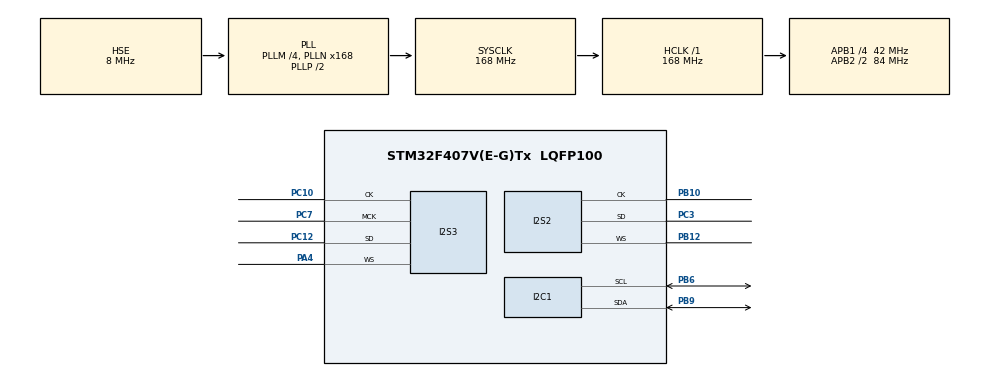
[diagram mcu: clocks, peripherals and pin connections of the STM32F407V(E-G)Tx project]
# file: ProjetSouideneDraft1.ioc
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Dma.Request0=SPI3_TX
Dma.Request1=SPI2_RX
Dma.SPI2_RX.1.Direction=DMA_PERIPH_TO_MEMORY
Dma.SPI2_RX.1.FIFOMode=DMA_FIFOMODE_ENABLE
Dma.SPI2_RX.1.FIFOThreshold=DMA_FIFO_THRESHOLD_FULL
Dma.SPI2_RX.1.Instance=DMA1_Stream3
Dma.SPI2_RX.1.MemBurst=DMA_MBURST_SINGLE
Dma.SPI2_RX.1.MemDataAlignment=DMA_MDATAALIGN_HALFWORD
Dma.SPI2_RX.1.MemInc=DMA_MINC_ENABLE
Dma.SPI2_RX.1.Mode=DMA_CIRCULAR
Dma.SPI2_RX.1.PeriphBurst=DMA_PBURST_SINGLE
Dma.SPI2_RX.1.PeriphDataAlignment=DMA_PDATAALIGN_HALFWORD
Dma.SPI2_RX.1.PeriphInc=DMA_PINC_DISABLE
Dma.SPI2_RX.1.Priority=DMA_PRIORITY_LOW
Dma.SPI3_TX.0.Direction=DMA_MEMORY_TO_PERIPH
Dma.SPI3_TX.0.FIFOMode=DMA_FIFOMODE_ENABLE
Dma.SPI3_TX.0.FIFOThreshold=DMA_FIFO_THRESHOLD_FULL
Dma.SPI3_TX.0.Instance=DMA1_Stream5
Dma.SPI3_TX.0.MemBurst=DMA_MBURST_SINGLE
Dma.SPI3_TX.0.MemDataAlignment=DMA_MDATAALIGN_HALFWORD
Dma.SPI3_TX.0.MemInc=DMA_MINC_ENABLE
Dma.SPI3_TX.0.Mode=DMA_CIRCULAR
Dma.SPI3_TX.0.PeriphBurst=DMA_PBURST_SINGLE
Dma.SPI3_TX.0.PeriphDataAlignment=DMA_PDATAALIGN_HALFWORD
Dma.SPI3_TX.0.PeriphInc=DMA_PINC_DISABLE
Dma.SPI3_TX.0.Priority=DMA_PRIORITY_LOW
I2S2.AudioFreq=I2S_AUDIOFREQ_48K
I2S2.ErrorAudioFreq=-1.35 %
I2S2.FullDuplexMode=I2S_FULLDUPLEXMODE_DISABLE
I2S2.Instance=SPI$Index
I2S2.Mode=I2S_MODE_MASTER_RX
I2S2.RealAudioFreq=47.348 KHz
I2S2.VirtualMode=I2S_MODE_MASTER
I2S3.AudioFreq=I2S_AUDIOFREQ_48K
I2S3.ErrorAudioFreq=1.72 %
I2S3.FullDuplexMode=I2S_FULLDUPLEXMODE_DISABLE
I2S3.Instance=SPI$Index
I2S3.Mode=I2S_MODE_MASTER_TX
I2S3.RealAudioFreq=48.828 KHz
I2S3.VirtualMode=I2S_MODE_MASTER
Mcu.Family=STM32F4
Mcu.Name=STM32F407V(E-G)Tx
Mcu.Package=LQFP100
NVIC.DMA1_Stream3_IRQn=true\:0\:0\:false\:false\:true\:false\:true\:true
NVIC.DMA1_Stream5_IRQn=true\:0\:0\:false\:false\:true\:false\:true\:true
NVIC.PriorityGroup=NVIC_PRIORITYGROUP_0
PA4.Mode=Half_Duplex_Master
PA4.Signal=I2S3_WS
PB10.Mode=Half_Duplex_Master
PB10.Signal=I2S2_CK
PB12.Mode=Half_Duplex_Master
PB12.Signal=I2S2_WS
PB6.Mode=I2C
PB6.Signal=I2C1_SCL
PB9.Mode=I2C
PB9.Signal=I2C1_SDA
PC10.Mode=Half_Duplex_Master
PC10.Signal=I2S3_CK
PC12.Mode=Half_Duplex_Master
PC12.Signal=I2S3_SD
PC3.Mode=Half_Duplex_Master
PC3.Signal=I2S2_SD
PC7.Mode=Master_Clock_Activated
PC7.Signal=I2S3_MCK
PDM2PCM.CHANNEL1_decimation_factor=PDM_FILTER_DEC_FACTOR_16
PDM2PCM.CHANNEL1_in_ptr_channels=1
PDM2PCM.CHANNEL1_out_ptr_channels=1
PH0-OSC_IN.Mode=HSE-External-Oscillator
PH0-OSC_IN.Signal=RCC_OSC_IN
PH1-OSC_OUT.Mode=HSE-External-Oscillator
PH1-OSC_OUT.Signal=RCC_OSC_OUT
ProjectManager.HeapSize=0x200
ProjectManager.StackSize=0x400
ProjectManager.TargetToolchain=MDK-ARM V5.32
RCC.48MHZClocksFreq_Value=48000000
RCC.AHBFreq_Value=168000000
RCC.APB1CLKDivider=RCC_HCLK_DIV4
RCC.APB1Freq_Value=42000000
RCC.APB1TimFreq_Value=84000000
RCC.APB2CLKDivider=RCC_HCLK_DIV2
RCC.APB2Freq_Value=84000000
RCC.APB2TimFreq_Value=168000000
RCC.CortexFreq_Value=168000000
RCC.HCLKFreq_Value=168000000
RCC.HSE_VALUE=8000000
RCC.HSI_VALUE=16000000
RCC.LSE_VALUE=32768
RCC.PLLI2SN=50
RCC.PLLM=4
RCC.PLLN=168
RCC.PLLQ=7
RCC.PLLSourceVirtual=RCC_PLLSOURCE_HSE
RCC.SYSCLKFreq_VALUE=168000000
RCC.SYSCLKSource=RCC_SYSCLKSOURCE_PLLCLK
RCC.VCOOutputFreq_Value=336000000
VP_CRC_VS_CRC.Mode=CRC_Activate
VP_PDM2PCM_VS_PDM2PCM.Mode=PDM2PCM_Channel
board=STM32F407G-DISC1

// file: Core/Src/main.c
/* USER CODE BEGIN Header */
/**
  ******************************************************************************
  * @file           : main.c
  * @brief          : Main program body
  ******************************************************************************
  * @attention
  *
  * Copyright (c) 2024 STMicroelectronics.
  * All rights reserved.
  *
  * This software is licensed under terms that can be found in the LICENSE file
  * in the root directory of this software component.
  * If no LICENSE file comes with this software, it is provided AS-IS.
  *
  ******************************************************************************
  */
/* USER CODE END Header */
#include "main.h"
#include "MY_CS43L22.h"
#include "pdm2pcm.h"
#include "string.h"

/* USER CODE BEGIN PD */
#define BUFFER_SIZE 64
/* USER CODE END PD */

CRC_HandleTypeDef hcrc;

I2C_HandleTypeDef hi2c1;

I2S_HandleTypeDef hi2s2;
I2S_HandleTypeDef hi2s3;
DMA_HandleTypeDef hdma_spi2_rx;
DMA_HandleTypeDef hdma_spi3_tx;

/* USER CODE BEGIN PV */
uint16_t pdm_buffer[BUFFER_SIZE * 2];
uint16_t pcm_buffer[BUFFER_SIZE];
uint16_t audio_data[BUFFER_SIZE];
/* USER CODE END PV */

void SystemClock_Config(void);
void PeriphCommonClock_Config(void);
static void MX_GPIO_Init(void);
static void MX_DMA_Init(void);
static void MX_I2S3_Init(void);
static void MX_I2C1_Init(void);
static void MX_I2S2_Init(void);
static void MX_CRC_Init(void);

/* USER CODE BEGIN 0 */

void transmit_audio_data(uint16_t * data, uint16_t size){
	memcpy(audio_data, data, size* sizeof(uint16_t));
}

void process_PDM_data(uint16_t* input, uint16_t* output, uint16_t size){
	PDM_Filter(input, output, &PDM1_filter_handler);
	transmit_audio_data(output, size / 2);
}

void HAL_I2S_RxHalfCpltCallback(I2S_HandleTypeDef *hi2s){
	if(hi2s->Instance == SPI2){
		process_PDM_data(pdm_buffer, pcm_buffer, BUFFER_SIZE );
	}
}
void HAL_I2S_RxCpltCallback(I2S_HandleTypeDef *hi2s){
	if(hi2s->Instance == SPI2){
		process_PDM_data( &pdm_buffer[BUFFER_SIZE], &pcm_buffer[BUFFER_SIZE / 2], BUFFER_SIZE );
	}
}
/* USER CODE END 0 */

int main(void)
{

  /* MCU Configuration--------------------------------------------------------*/

  /* Reset of all peripherals, Initializes the Flash interface and the Systick. */
  HAL_Init();

  /* Configure the system clock */
  SystemClock_Config();

  /* Configure the peripherals common clocks */
  PeriphCommonClock_Config();

  /* Initialize all configured peripherals */
  MX_GPIO_Init();
  MX_DMA_Init();
  MX_I2S3_Init();
  MX_I2C1_Init();
  MX_I2S2_Init();
  MX_CRC_Init();
  MX_PDM2PCM_Init();
  /* USER CODE BEGIN 2 */
	CS43_Init(hi2c1, I2S_MODE);
	CS43_SetVolume(30); //0 - 100,, 40
	CS43_Enable_RightLeft(CS43_RIGHT_LEFT);
	CS43_Start();
	HAL_I2S_Receive_DMA(&hi2s2, pdm_buffer, BUFFER_SIZE * 2);
	HAL_I2S_Transmit_DMA(&hi2s3, pcm_buffer, BUFFER_SIZE);

  /* USER CODE END 2 */

  /* Infinite loop */
  while (1)
  {

  }
}

void SystemClock_Config(void)
{
  RCC_OscInitTypeDef RCC_OscInitStruct = {0};
  RCC_ClkInitTypeDef RCC_ClkInitStruct = {0};

  /** Configure the main internal regulator output voltage
  */
  __HAL_RCC_PWR_CLK_ENABLE();
  __HAL_PWR_VOLTAGESCALING_CONFIG(PWR_REGULATOR_VOLTAGE_SCALE1);

  /** Initializes the RCC Oscillators according to the specified parameters
  * in the RCC_OscInitTypeDef structure.
  */
  RCC_OscInitStruct.OscillatorType = RCC_OSCILLATORTYPE_HSE;
  RCC_OscInitStruct.HSEState = RCC_HSE_ON;
  RCC_OscInitStruct.PLL.PLLState = RCC_PLL_ON;
  RCC_OscInitStruct.PLL.PLLSource = RCC_PLLSOURCE_HSE;
  RCC_OscInitStruct.PLL.PLLM = 4;
  RCC_OscInitStruct.PLL.PLLN = 168;
  RCC_OscInitStruct.PLL.PLLP = RCC_PLLP_DIV2;
  RCC_OscInitStruct.PLL.PLLQ = 7;
  if (HAL_RCC_OscConfig(&RCC_OscInitStruct) != HAL_OK)
  {
    Error_Handler();
  }

  /** Initializes the CPU, AHB and APB buses clocks
  */
  RCC_ClkInitStruct.ClockType = RCC_CLOCKTYPE_HCLK|RCC_CLOCKTYPE_SYSCLK
                              |RCC_CLOCKTYPE_PCLK1|RCC_CLOCKTYPE_PCLK2;
  RCC_ClkInitStruct.SYSCLKSource = RCC_SYSCLKSOURCE_PLLCLK;
  RCC_ClkInitStruct.AHBCLKDivider = RCC_SYSCLK_DIV1;
  RCC_ClkInitStruct.APB1CLKDivider = RCC_HCLK_DIV4;
  RCC_ClkInitStruct.APB2CLKDivider = RCC_HCLK_DIV2;

  if (HAL_RCC_ClockConfig(&RCC_ClkInitStruct, FLASH_LATENCY_5) != HAL_OK)
  {
    Error_Handler();
  }
}

void PeriphCommonClock_Config(void)
{
  RCC_PeriphCLKInitTypeDef PeriphClkInitStruct = {0};

  /** Initializes the peripherals clock
  */
  PeriphClkInitStruct.PeriphClockSelection = RCC_PERIPHCLK_I2S;
  PeriphClkInitStruct.PLLI2S.PLLI2SN = 50;
  PeriphClkInitStruct.PLLI2S.PLLI2SR = 2;
  if (HAL_RCCEx_PeriphCLKConfig(&PeriphClkInitStruct) != HAL_OK)
  {
    Error_Handler();
  }
}

static void MX_CRC_Init(void)
{

  hcrc.Instance = CRC;
  if (HAL_CRC_Init(&hcrc) != HAL_OK)
  {
    Error_Handler();
  }
  __HAL_CRC_DR_RESET(&hcrc);

}

static void MX_I2C1_Init(void)
{

  hi2c1.Instance = I2C1;
  hi2c1.Init.ClockSpeed = 100000;
  hi2c1.Init.DutyCycle = I2C_DUTYCYCLE_2;
  hi2c1.Init.OwnAddress1 = 0;
  hi2c1.Init.AddressingMode = I2C_ADDRESSINGMODE_7BIT;
  hi2c1.Init.DualAddressMode = I2C_DUALADDRESS_DISABLE;
  hi2c1.Init.OwnAddress2 = 0;
  hi2c1.Init.GeneralCallMode = I2C_GENERALCALL_DISABLE;
  hi2c1.Init.NoStretchMode = I2C_NOSTRETCH_DISABLE;
  if (HAL_I2C_Init(&hi2c1) != HAL_OK)
  {
    Error_Handler();
  }

}

static void MX_I2S2_Init(void)
{

  hi2s2.Instance = SPI2;
  hi2s2.Init.Mode = I2S_MODE_MASTER_RX;
  hi2s2.Init.Standard = I2S_STANDARD_PHILIPS;
  hi2s2.Init.DataFormat = I2S_DATAFORMAT_16B;
  hi2s2.Init.MCLKOutput = I2S_MCLKOUTPUT_DISABLE;
  hi2s2.Init.AudioFreq = I2S_AUDIOFREQ_48K;
  hi2s2.Init.CPOL = I2S_CPOL_LOW;
  hi2s2.Init.ClockSource = I2S_CLOCK_PLL;
  hi2s2.Init.FullDuplexMode = I2S_FULLDUPLEXMODE_DISABLE;
  if (HAL_I2S_Init(&hi2s2) != HAL_OK)
  {
    Error_Handler();
  }

}

static void MX_I2S3_Init(void)
{

  hi2s3.Instance = SPI3;
  hi2s3.Init.Mode = I2S_MODE_MASTER_TX;
  hi2s3.Init.Standard = I2S_STANDARD_PHILIPS;
  hi2s3.Init.DataFormat = I2S_DATAFORMAT_16B;
  hi2s3.Init.MCLKOutput = I2S_MCLKOUTPUT_ENABLE;
  hi2s3.Init.AudioFreq = I2S_AUDIOFREQ_48K;
  hi2s3.Init.CPOL = I2S_CPOL_LOW;
  hi2s3.Init.ClockSource = I2S_CLOCK_PLL;
  hi2s3.Init.FullDuplexMode = I2S_FULLDUPLEXMODE_DISABLE;
  if (HAL_I2S_Init(&hi2s3) != HAL_OK)
  {
    Error_Handler();
  }

}

static void MX_DMA_Init(void)
{

  /* DMA controller clock enable */
  __HAL_RCC_DMA1_CLK_ENABLE();

  /* DMA interrupt init */
  /* DMA1_Stream3_IRQn interrupt configuration */
  HAL_NVIC_SetPriority(DMA1_Stream3_IRQn, 0, 0);
  HAL_NVIC_EnableIRQ(DMA1_Stream3_IRQn);
  /* DMA1_Stream5_IRQn interrupt configuration */
  HAL_NVIC_SetPriority(DMA1_Stream5_IRQn, 0, 0);
  HAL_NVIC_EnableIRQ(DMA1_Stream5_IRQn);

}

static void MX_GPIO_Init(void)
{

  /* GPIO Ports Clock Enable */
  __HAL_RCC_GPIOH_CLK_ENABLE();
  __HAL_RCC_GPIOC_CLK_ENABLE();
  __HAL_RCC_GPIOA_CLK_ENABLE();
  __HAL_RCC_GPIOB_CLK_ENABLE();

}

void Error_Handler(void)
{
  __disable_irq();
  while (1)
  {
  }
}
